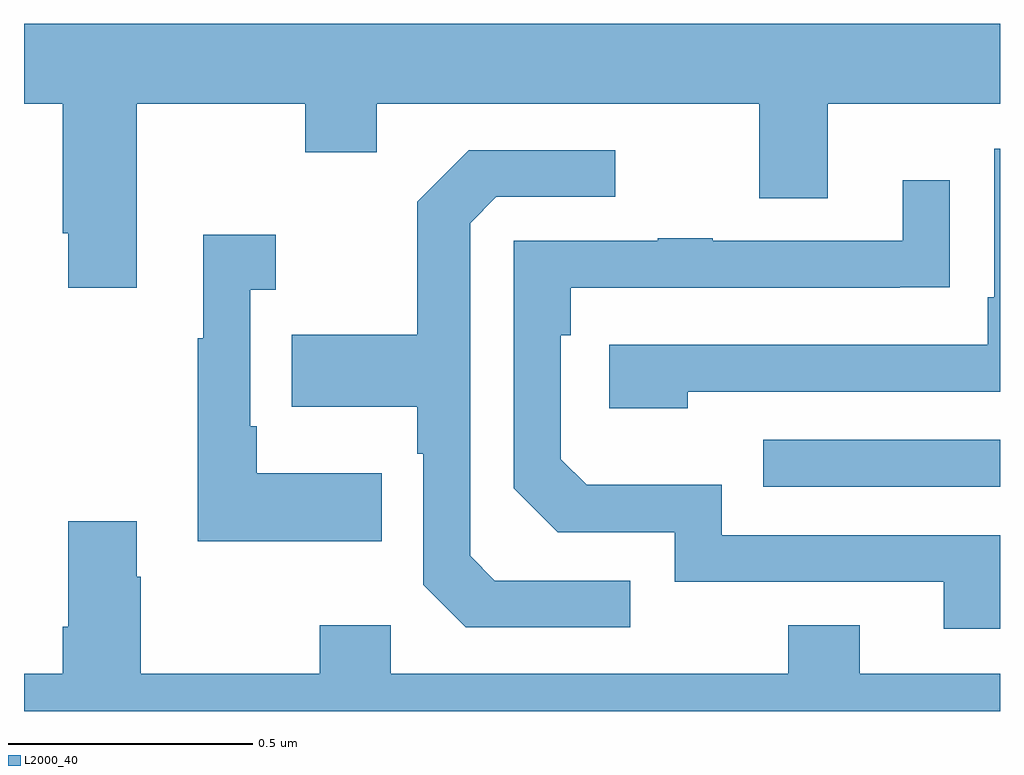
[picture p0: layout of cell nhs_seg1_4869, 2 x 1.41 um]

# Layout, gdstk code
import gdstk
lib = gdstk.Library(unit=1e-6, precision=1e-09)
def R(c, l, rs):  # rectangles x0, y0, x1, y1
    for r in rs: c.add(gdstk.rectangle(r[:2], r[2:], *l))
def P(c, l, *ps):  # polygons
    for p in ps: c.add(gdstk.Polygon(p, *l))
L2000_40 = (2000, 40)

nhs_seg1_4869 = lib.new_cell('nhs_seg1_4869')
R(nhs_seg1_4869, L2000_40, [(173.515,505.659,174,505.755)])
P(nhs_seg1_4869, L2000_40, [(172.231,506.444),(172.576,506.444),(172.576,506.345),(172.723,506.345),(172.723,506.444),(173.507,506.444),(173.507,506.25),(173.647,506.25),(173.647,506.444),(174,506.444),(174,506.608),(172,506.608),(172,506.444),(172.079,506.444),(172.079,506.179),(172.091,506.179),(172.091,506.067),(172.231,506.067)],
  [(173.36,505.854),(174,505.854),(174,506.352),(173.988,506.352),(173.988,506.047),(173.975,506.047),(173.975,505.95),(173.199,505.95),(173.199,505.82),(173.36,505.82)],
  [(173.242,505.467),(172.965,505.467),(172.914,505.518),(172.914,506.199),(172.968,506.253),(173.212,506.253),(173.212,506.349),(172.911,506.349),(172.806,506.243),(172.806,505.971),(172.549,505.971),(172.549,505.823),(172.806,505.823),(172.806,505.727),(172.818,505.727),(172.818,505.458),(172.905,505.371),(173.242,505.371)],
  [(174,505.56),(173.43,505.56),(173.43,505.663),(173.153,505.663),(173.1,505.716),(173.1,505.97),(173.12,505.97),(173.12,506.067),(173.795,506.067),(173.795,506.068),(173.897,506.068),(173.897,506.287),(173.801,506.287),(173.801,506.163),(173.411,506.163),(173.411,506.168),(173.299,506.168),(173.299,506.163),(173.004,506.163),(173.004,505.656),(173.094,505.566),(173.334,505.566),(173.334,505.464),(173.885,505.464),(173.885,505.368),(174,505.368)],
  [(172.733,505.687),(172.477,505.687),(172.477,505.783),(172.464,505.783),(172.464,506.063),(172.516,506.063),(172.516,506.176),(172.367,506.176),(172.367,505.963),(172.356,505.963),(172.356,505.547),(172.733,505.547)],
  [(174,505.276),(173.713,505.276),(173.713,505.375),(173.566,505.375),(173.566,505.276),(172.752,505.276),(172.752,505.375),(172.606,505.375),(172.606,505.276),(172.239,505.276),(172.239,505.475),(172.231,505.475),(172.231,505.588),(172.091,505.588),(172.091,505.372),(172.079,505.372),(172.079,505.276),(172,505.276),(172,505.199),(174,505.199)])

lib.write_gds('nhs_seg1_4869.gds')
